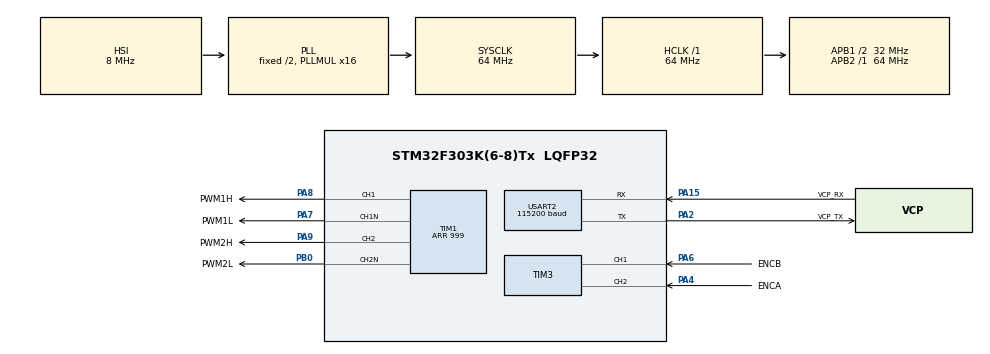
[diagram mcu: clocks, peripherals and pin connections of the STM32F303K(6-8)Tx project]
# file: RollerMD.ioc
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Mcu.Family=STM32F3
Mcu.Name=STM32F303K(6-8)Tx
Mcu.Package=LQFP32
NVIC.PriorityGroup=NVIC_PRIORITYGROUP_4
NVIC.TIM6_DAC1_IRQn=true\:0\:0\:false\:false\:true\:true\:true\:true
NVIC.USART2_IRQn=true\:0\:0\:false\:false\:true\:true\:true\:true
PA13.GPIO_Label=SWDIO
PA13.Mode=Serial_Wire
PA13.Signal=SYS_JTMS-SWDIO
PA14.GPIO_Label=SWCLK
PA14.Mode=Serial_Wire
PA14.Signal=SYS_JTCK-SWCLK
PA15.GPIO_Label=VCP_RX
PA15.Mode=Asynchronous
PA15.Signal=USART2_RX
PA2.GPIO_Label=VCP_TX
PA2.Mode=Asynchronous
PA2.Signal=USART2_TX
PA4.GPIO_Label=ENCA
PA4.Signal=S_TIM3_CH2
PA6.GPIO_Label=ENCB
PA6.Signal=S_TIM3_CH1
PA7.GPIO_Label=PWM1L
PA7.Mode=PWM Generation1 CH1 CH1N
PA7.Signal=TIM1_CH1N
PA8.GPIO_Label=PWM1H
PA8.Signal=S_TIM1_CH1
PA9.GPIO_Label=PWM2H
PA9.Signal=S_TIM1_CH2
PB0.GPIO_Label=PWM2L
PB0.Mode=PWM Generation2 CH2 CH2N
PB0.Signal=TIM1_CH2N
PF0\ /\ OSC_IN.GPIO_Label=MCO
PF0\ /\ OSC_IN.Mode=HSE-External-Clock-Source
PF0\ /\ OSC_IN.Signal=RCC_OSC_IN
ProjectManager.HeapSize=0x200
ProjectManager.StackSize=0x400
ProjectManager.TargetToolchain=STM32CubeIDE
RCC.AHBFreq_Value=64000000
RCC.APB1CLKDivider=RCC_HCLK_DIV2
RCC.APB1Freq_Value=32000000
RCC.APB1TimFreq_Value=64000000
RCC.APB2Freq_Value=64000000
RCC.APB2TimFreq_Value=64000000
RCC.CortexFreq_Value=64000000
RCC.HCLKFreq_Value=64000000
RCC.HSE_VALUE=8000000
RCC.HSI_VALUE=8000000
RCC.PLLMUL=RCC_PLL_MUL16
RCC.SYSCLKFreq_VALUE=64000000
RCC.SYSCLKSourceVirtual=RCC_SYSCLKSOURCE_PLLCLK
RCC.TIM1Selection=RCC_TIM1CLK_PLLCLK
SH.S_TIM1_CH1.0=TIM1_CH1,PWM Generation1 CH1 CH1N
SH.S_TIM1_CH2.0=TIM1_CH2,PWM Generation2 CH2 CH2N
SH.S_TIM3_CH1.0=TIM3_CH1,Encoder_Interface
SH.S_TIM3_CH2.0=TIM3_CH2,Encoder_Interface
TIM1.Channel-PWM\ Generation1\ CH1\ CH1N=TIM_CHANNEL_1
TIM1.Channel-PWM\ Generation2\ CH2\ CH2N=TIM_CHANNEL_2
TIM1.DeadTime=64
TIM1.Period=999
TIM3.EncoderMode=TIM_ENCODERMODE_TI12
TIM6.Period=999
TIM6.Prescaler=63
TIM7.Prescaler=63
USART2.BaudRate=115200
USART2.VirtualMode-Asynchronous=VM_ASYNC
VP_TIM6_VS_ClockSourceINT.Mode=Enable_Timer
VP_TIM7_VS_ClockSourceINT.Mode=Enable_Timer
board=NUCLEO-F303K8

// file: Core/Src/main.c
/* USER CODE BEGIN Header */
/**
  ******************************************************************************
  * @file           : main.c
  * @brief          : Main program body
  ******************************************************************************
  * @attention
  *
  * Copyright (c) 2023 STMicroelectronics.
  * All rights reserved.
  *
  * This software is licensed under terms that can be found in the LICENSE file
  * in the root directory of this software component.
  * If no LICENSE file comes with this software, it is provided AS-IS.
  *
  ******************************************************************************
  */
/* USER CODE END Header */
#include "main.h"
#include "tim.h"
#include "usart.h"
#include "gpio.h"

/* USER CODE BEGIN Includes */
#include "stdio.h"
#include "stdlib.h"
#include "math.h"

/* USER CODE END Includes */

/* USER CODE BEGIN PV */
uint8_t rxData[10] = {0};
uint16_t dt;
float omega;
float ref = 0.0f;

float error = 0.0f; // 偏差
float ierror = 0.0f; // 偏差の積分
float output = 0.0f;
float d_hat = 0.0f; // 外乱の推定値

/* USER CODE END PV */

void SystemClock_Config(void);
/* USER CODE BEGIN PFP */
void setMotor(int);
float LPF(float);
float FGinv(float);
float PID(float, float);

/* USER CODE END PFP */

int main(void)
{
  /* USER CODE BEGIN 1 */
	setbuf(stdout, NULL);

  /* USER CODE END 1 */

  /* MCU Configuration--------------------------------------------------------*/

  /* Reset of all peripherals, Initializes the Flash interface and the Systick. */
  HAL_Init();

  /* Configure the system clock */
  SystemClock_Config();

  /* Initialize all configured peripherals */
  MX_GPIO_Init();
  MX_USART2_UART_Init();
  MX_TIM3_Init();
  MX_TIM6_Init();
  MX_TIM7_Init();
  MX_TIM1_Init();
  /* USER CODE BEGIN 2 */
  LL_USART_EnableIT_RXNE(USART2);

  LL_TIM_EnableCounter(TIM1);
  LL_TIM_CC_EnableChannel(TIM1, LL_TIM_CHANNEL_CH1);
  LL_TIM_CC_EnableChannel(TIM1, LL_TIM_CHANNEL_CH1N);
  LL_TIM_CC_EnableChannel(TIM1, LL_TIM_CHANNEL_CH2);
  LL_TIM_CC_EnableChannel(TIM1, LL_TIM_CHANNEL_CH2N);
  LL_TIM_EnableAllOutputs(TIM1);
  LL_TIM_OC_SetCompareCH1(TIM1, 0);
  LL_TIM_OC_SetCompareCH2(TIM1, 0);

  LL_TIM_EnableCounter(TIM3);

  LL_TIM_EnableIT_UPDATE(TIM6);
  LL_TIM_EnableCounter(TIM6);

  LL_TIM_EnableCounter(TIM7);

  /* USER CODE END 2 */

  /* Infinite loop */
  while (1)
  {

    /* USER CODE BEGIN 3 */
	  printf("ref=%f, error=%f, ierror=%f, output=%f, d_hat=%f\r\n", ref, error, ierror, output, d_hat);
	  LL_mDelay(100);
  }
  /* USER CODE END 3 */
}

void SystemClock_Config(void)
{
  RCC_OscInitTypeDef RCC_OscInitStruct = {0};
  RCC_ClkInitTypeDef RCC_ClkInitStruct = {0};
  RCC_PeriphCLKInitTypeDef PeriphClkInit = {0};

  /** Initializes the RCC Oscillators according to the specified parameters
  * in the RCC_OscInitTypeDef structure.
  */
  RCC_OscInitStruct.OscillatorType = RCC_OSCILLATORTYPE_HSI;
  RCC_OscInitStruct.HSIState = RCC_HSI_ON;
  RCC_OscInitStruct.HSICalibrationValue = RCC_HSICALIBRATION_DEFAULT;
  RCC_OscInitStruct.PLL.PLLState = RCC_PLL_ON;
  RCC_OscInitStruct.PLL.PLLSource = RCC_PLLSOURCE_HSI;
  RCC_OscInitStruct.PLL.PLLMUL = RCC_PLL_MUL16;
  if (HAL_RCC_OscConfig(&RCC_OscInitStruct) != HAL_OK)
  {
    Error_Handler();
  }

  /** Initializes the CPU, AHB and APB buses clocks
  */
  RCC_ClkInitStruct.ClockType = RCC_CLOCKTYPE_HCLK|RCC_CLOCKTYPE_SYSCLK
                              |RCC_CLOCKTYPE_PCLK1|RCC_CLOCKTYPE_PCLK2;
  RCC_ClkInitStruct.SYSCLKSource = RCC_SYSCLKSOURCE_PLLCLK;
  RCC_ClkInitStruct.AHBCLKDivider = RCC_SYSCLK_DIV1;
  RCC_ClkInitStruct.APB1CLKDivider = RCC_HCLK_DIV2;
  RCC_ClkInitStruct.APB2CLKDivider = RCC_HCLK_DIV1;

  if (HAL_RCC_ClockConfig(&RCC_ClkInitStruct, FLASH_LATENCY_2) != HAL_OK)
  {
    Error_Handler();
  }
  PeriphClkInit.PeriphClockSelection = RCC_PERIPHCLK_TIM1;
  PeriphClkInit.Tim1ClockSelection = RCC_TIM1CLK_PLLCLK;
  if (HAL_RCCEx_PeriphCLKConfig(&PeriphClkInit) != HAL_OK)
  {
    Error_Handler();
  }
}

/* USER CODE BEGIN 4 */
void __io_putchar(uint8_t c) {
	LL_USART_TransmitData8(USART2, c);
	while (LL_USART_IsActiveFlag_TXE(USART2) == 0);
}

/**
 * @brief 制御器
 * @note 制御周期はプリスケーラとカウンタピリオドの値に依存
 */
void controller()
{
	const float T_ctrl = 0.001f;
	const float PPR = 2048.0f;
	const float CPR = PPR * 4;

	int16_t count = -LL_TIM_GetCounter(TIM3);
	LL_TIM_SetCounter(TIM3, 0);
	omega = (float)count / T_ctrl / CPR * 2 * M_PI; // 角速度を計算

	// 上のローラーのゲイン
	//　const float K_p = 0.590558021696119f;
	//　const float K_i = 6.47134066066387f;
	// const float K_d = 0.0f;
	// 下のローラーのゲイン
	const float K_p = 0.570265010581587f;
	const float K_i = 6.00085498191391f;
	const float K_d = 0.0f;

	static float error_pre; // 前回の偏差
	// static float ierror; // 偏差の積分
	static float derror; // 偏差の微分
	static float output_pre;

	// float error; // 偏差
	if (ref == INFINITY) { // リセット信号が来たとき
		error = 0;
	} else {
		error = ref - omega;
	}
	derror = (error - error_pre) / T_ctrl;
	if ((ref == INFINITY) || (fabsf(ref) < 0.001f)) { // リセット信号が来た or 指令値が0
		ierror = 0;
		output_pre = 0;
	} else {
		ierror = ierror + (error + error_pre) * T_ctrl / 2;
	}
	if ((ref == INFINITY) || (fabsf(ref) < 0.001f)) { // リセット信号が来た or 指令値が0
		output = 0;
	} else {
		// float output = K_p * error + K_i * ierror + K_d * derror;
		output = K_p * error + K_i * ierror + K_d * derror;
	}
	d_hat = LPF(output_pre) - FGinv(omega); // 外乱の推定値を計算
	output += d_hat;

	setMotor((int)output);

	error_pre = error;
	output_pre = output;

	/*
	static int step;
	if (step < 1000) {
		setMotor(300);
		printf("%f,%f\r\n", (float)step * 0.001f, omega);
	} else if (step < 2000) {
		setMotor(600);
		printf("%f,%f\r\n", (float)step * 0.001f, omega);
	} else {
		setMotor(300);
	}
	step += 2;
	*/
}

/**
 * @brief ローパスフィルタ
 * @param input 入力
 * @return 出力
 */
float LPF(float input)
{
	const float T_ctrl = 0.001f;
	const float omega_c = 100.0f;
	float a = omega_c * T_ctrl / (1 + omega_c * T_ctrl);

	static float output_pre;

	float output = (1 - a) * output_pre + a * input;

	output_pre = output;

	return output;
}

/**
 * @brief LPF付きモータの逆システム
 * @param input 入力
 * @return 出力
 */
float FGinv(float input)
{
	// 上
	// const float K = 5.192893047396017f;
	// const float T = 0.10130360113627829f;
	// 下
	const float K = 5.240304638093135f;
	const float T = 0.10560630397470239f;

	const float T_ctrl = 0.001f;
	const float omega_c = 100.0f;

	static float input_pre;
	static float output_pre;

	float output;
	if ((ref == INFINITY) || (fabsf(ref) < 0.001f)) { // リセット信号が来た or 指令値が0
		output = 0;
		output_pre = 0;
	} else {
		output = output_pre / (1 + omega_c * T_ctrl) + input * omega_c * (T + T_ctrl) / K / (1 + omega_c * T_ctrl) - input_pre * omega_c * T / K / (1 + omega_c * T_ctrl);
	}

	input_pre = input;
	output_pre = output;

	return output;
}

/**
 * @brief PID制御器
 * @param input 入力値
 * @param target 目標値
 * @return 操作量
 */
float PID(float input, float target)
{
	const float T_ctrl = 0.001f;
    const float K_p = 0.704852646884575f;
    const float K_i = 8.65943789940659f;
    const float K_d = 0.0f;

    static float error_pre;
    static float ierror;
    static float derror;
    static float output;

    float error = target - input;
    derror = (error - error_pre) / T_ctrl;
    ierror = ierror + (error + error_pre) * T_ctrl / 2;
    output = K_p * error + K_i * ierror + K_d * derror;

    error_pre = error;

    return output;
}

/**
 * @brief あ
 * @param duty デューティ比 [‰]
 */
void setMotor(int duty)
{
	if (duty > 950) {
		duty = 950;
	} else if(duty < -950) {
		duty = -950;
	}

	if (duty > 0) { // 正転
		LL_TIM_OC_SetCompareCH1(TIM1, duty);
		LL_TIM_OC_SetCompareCH2(TIM1, 0);
	} else if (duty < 0) { // 逆転
		LL_TIM_OC_SetCompareCH1(TIM1, 0);
		LL_TIM_OC_SetCompareCH2(TIM1, -duty);
	} else { // 停止
		LL_TIM_OC_SetCompareCH1(TIM1, 0);
		LL_TIM_OC_SetCompareCH2(TIM1, 0);
	}
}

/* USER CODE END 4 */

void Error_Handler(void)
{
  __disable_irq();
  while (1)
  {
  }
}
